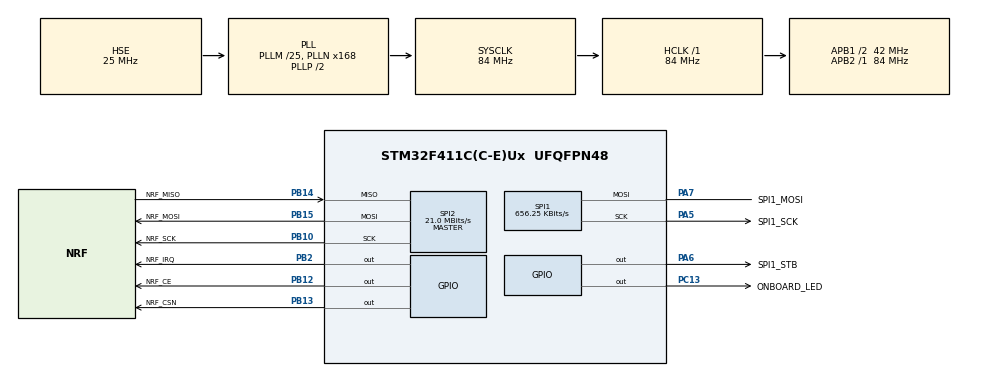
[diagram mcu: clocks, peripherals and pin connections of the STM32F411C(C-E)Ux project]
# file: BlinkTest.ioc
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Mcu.Family=STM32F4
Mcu.Name=STM32F411C(C-E)Ux
Mcu.Package=UFQFPN48
NVIC.PriorityGroup=NVIC_PRIORITYGROUP_4
NVIC.TIM1_BRK_TIM9_IRQn=true\:15\:0\:false\:false\:true\:false\:true\:true
NVIC.TimeBase=TIM1_BRK_TIM9_IRQn
NVIC.TimeBaseIP=TIM9
PA13.Mode=Serial_Wire
PA13.Signal=SYS_JTMS-SWDIO
PA14.Mode=Serial_Wire
PA14.Signal=SYS_JTCK-SWCLK
PA5.GPIO_Label=SPI1_SCK
PA5.GPIO_Speed=GPIO_SPEED_FREQ_MEDIUM
PA5.Mode=Simplex_Bidirectional_Master
PA5.Signal=SPI1_SCK
PA6.GPIO_Label=SPI1_STB
PA6.GPIO_Speed=GPIO_SPEED_FREQ_LOW
PA6.PinState=GPIO_PIN_SET
PA6.Signal=GPIO_Output
PA7.GPIO_Label=SPI1_MOSI
PA7.GPIO_PuPd=GPIO_PULLUP
PA7.GPIO_Speed=GPIO_SPEED_FREQ_MEDIUM
PA7.Mode=Simplex_Bidirectional_Master
PA7.Signal=SPI1_MOSI
PB10.GPIO_Label=NRF_SCK
PB10.Mode=Full_Duplex_Master
PB10.Signal=SPI2_SCK
PB12.GPIO_Label=NRF_CE
PB12.Signal=GPIO_Output
PB13.GPIO_Label=NRF_CSN
PB13.Signal=GPIO_Output
PB14.GPIO_Label=NRF_MISO
PB14.Mode=Full_Duplex_Master
PB14.Signal=SPI2_MISO
PB15.GPIO_Label=NRF_MOSI
PB15.Mode=Full_Duplex_Master
PB15.Signal=SPI2_MOSI
PB2.GPIO_Label=NRF_IRQ
PB2.Signal=GPIO_Output
PC13-ANTI_TAMP.GPIO_Label=ONBOARD_LED
PC13-ANTI_TAMP.Signal=GPIO_Output
PH0\ -\ OSC_IN.Mode=HSE-External-Oscillator
PH0\ -\ OSC_IN.Signal=RCC_OSC_IN
PH1\ -\ OSC_OUT.Mode=HSE-External-Oscillator
PH1\ -\ OSC_OUT.Signal=RCC_OSC_OUT
ProjectManager.HeapSize=0x200
ProjectManager.StackSize=0x400
ProjectManager.TargetToolchain=STM32CubeIDE
RCC.48MHZClocksFreq_Value=42000000
RCC.AHBFreq_Value=84000000
RCC.APB1CLKDivider=RCC_HCLK_DIV2
RCC.APB1Freq_Value=42000000
RCC.APB1TimFreq_Value=84000000
RCC.APB2Freq_Value=84000000
RCC.APB2TimFreq_Value=84000000
RCC.CortexFreq_Value=84000000
RCC.HCLKFreq_Value=84000000
RCC.HSE_VALUE=25000000
RCC.HSI_VALUE=16000000
RCC.LSE_VALUE=32768
RCC.PLLM=25
RCC.PLLN=168
RCC.PLLSourceVirtual=RCC_PLLSOURCE_HSE
RCC.SYSCLKFreq_VALUE=84000000
RCC.SYSCLKSource=RCC_SYSCLKSOURCE_PLLCLK
RCC.VCOOutputFreq_Value=168000000
SPI1.BaudRatePrescaler=SPI_BAUDRATEPRESCALER_128
SPI1.CLKPhase=SPI_PHASE_2EDGE
SPI1.CLKPolarity=SPI_POLARITY_HIGH
SPI1.CalculateBaudRate=656.25 KBits/s
SPI1.Direction=SPI_DIRECTION_1LINE
SPI1.FirstBit=SPI_FIRSTBIT_LSB
SPI1.Mode=SPI_MODE_MASTER
SPI1.VirtualType=VM_MASTER
SPI2.BaudRatePrescaler=SPI_BAUDRATEPRESCALER_2
SPI2.CalculateBaudRate=21.0 MBits/s
SPI2.Direction=SPI_DIRECTION_2LINES
SPI2.Mode=SPI_MODE_MASTER
SPI2.VirtualType=VM_MASTER
VP_SYS_VS_tim9.Mode=TIM9
board=custom

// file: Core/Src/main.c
/* USER CODE BEGIN Header */
/**
  ******************************************************************************
  * @file           : main.c
  * @brief          : Main program body
  ******************************************************************************
  * @attention
  *
  * Copyright (c) 2024 STMicroelectronics.
  * All rights reserved.
  *
  * This software is licensed under terms that can be found in the LICENSE file
  * in the root directory of this software component.
  * If no LICENSE file comes with this software, it is provided AS-IS.
  *
  ******************************************************************************
  */
/* USER CODE END Header */
#include "main.h"
#include "spi.h"
#include "gpio.h"

/* USER CODE BEGIN Includes */
#include "tm1638.h"
#include "support.h"
#include "nrf24.h"

/* USER CODE END Includes */

void SystemClock_Config(void);

int main(void)
{

  /* MCU Configuration--------------------------------------------------------*/

  /* Reset of all peripherals, Initializes the Flash interface and the Systick. */
  HAL_Init();

  /* Configure the system clock */
  SystemClock_Config();

  /* Initialize all configured peripherals */
  MX_GPIO_Init();
  MX_SPI1_Init();
  MX_SPI2_Init();
  /* USER CODE BEGIN 2 */

  HAL_GPIO_WritePin(SPI1_STB_GPIO_Port, SPI1_STB_Pin, GPIO_PIN_SET);
  HAL_GPIO_WritePin(SPI1_MOSI_GPIO_Port, SPI1_MOSI_Pin, GPIO_PIN_SET);
  HAL_GPIO_WritePin(SPI1_SCK_GPIO_Port, SPI1_SCK_Pin, GPIO_PIN_SET);
  turnOn(15);
  clear();
  //setDataOut();
	  charTo(0, 'l');
	  charTo(1, 'e');
	  charTo(2, 'o');
	  charTo(3, 'n');
	  charTo(4, 'e');
	  charTo(5, 'm');
	  charTo(6, 'm');
	  charTo(7, 'a');
  /* USER CODE END 2 */

  /* Infinite loop */
  /* USER CODE BEGIN WHILE */
  nRF24_RXResult pipe;
  uint32_t count = 0;
  uint8_t rxLen = 5;
  uint8_t rxValues[] = {0,1,2,3,4};
  nRF24_Init();
  nRF24_InitRX(rxValues, rxLen);

  while (1)
  {
    /* USER CODE END WHILE */

    /* USER CODE BEGIN 3 */
	  //turnOn(4);
	  //clear();

	  uint8_t btns = readButtons();
	  for(int i = 0; i < 8; i++){
		  char val = (btns & (1 << i)) > 0 ? 1 : 0;
		  writeTo(2 * i + 1, val);
	  }

	  uint8_t status = nRF24_GetStatus_RXFIFO();
      if (status != nRF24_STATUS_RXFIFO_EMPTY) {
          // Get a payload from the transceiver
          pipe = nRF24_ReadPayload(rxValues, &rxLen);

          // Clear all pending IRQ flags
          nRF24_ClearIRQFlags();
          writeHexTo(6, 2, rxValues[0]);
          writeHexTo(4, 2, rxValues[1]);
          writeHexTo(2, 2, rxValues[2]);
          writeHexTo(0, 2, rxValues[3]);
      }

	  //writeHexTo(4, 4, count);
	  count++;
	  HAL_Delay(8);
  }
  /* USER CODE END 3 */
}

void SystemClock_Config(void)
{
  RCC_OscInitTypeDef RCC_OscInitStruct = {0};
  RCC_ClkInitTypeDef RCC_ClkInitStruct = {0};

  /** Configure the main internal regulator output voltage
  */
  __HAL_RCC_PWR_CLK_ENABLE();
  __HAL_PWR_VOLTAGESCALING_CONFIG(PWR_REGULATOR_VOLTAGE_SCALE1);

  /** Initializes the RCC Oscillators according to the specified parameters
  * in the RCC_OscInitTypeDef structure.
  */
  RCC_OscInitStruct.OscillatorType = RCC_OSCILLATORTYPE_HSE;
  RCC_OscInitStruct.HSEState = RCC_HSE_ON;
  RCC_OscInitStruct.PLL.PLLState = RCC_PLL_ON;
  RCC_OscInitStruct.PLL.PLLSource = RCC_PLLSOURCE_HSE;
  RCC_OscInitStruct.PLL.PLLM = 25;
  RCC_OscInitStruct.PLL.PLLN = 168;
  RCC_OscInitStruct.PLL.PLLP = RCC_PLLP_DIV2;
  RCC_OscInitStruct.PLL.PLLQ = 4;
  if (HAL_RCC_OscConfig(&RCC_OscInitStruct) != HAL_OK)
  {
    Error_Handler();
  }

  /** Initializes the CPU, AHB and APB buses clocks
  */
  RCC_ClkInitStruct.ClockType = RCC_CLOCKTYPE_HCLK|RCC_CLOCKTYPE_SYSCLK
                              |RCC_CLOCKTYPE_PCLK1|RCC_CLOCKTYPE_PCLK2;
  RCC_ClkInitStruct.SYSCLKSource = RCC_SYSCLKSOURCE_PLLCLK;
  RCC_ClkInitStruct.AHBCLKDivider = RCC_SYSCLK_DIV1;
  RCC_ClkInitStruct.APB1CLKDivider = RCC_HCLK_DIV2;
  RCC_ClkInitStruct.APB2CLKDivider = RCC_HCLK_DIV1;

  if (HAL_RCC_ClockConfig(&RCC_ClkInitStruct, FLASH_LATENCY_2) != HAL_OK)
  {
    Error_Handler();
  }
}

void HAL_TIM_PeriodElapsedCallback(TIM_HandleTypeDef *htim)
{
  if (htim->Instance == TIM9) {
    HAL_IncTick();
  }
}

void Error_Handler(void)
{
  __disable_irq();
  while (1)
  {
  }
}
